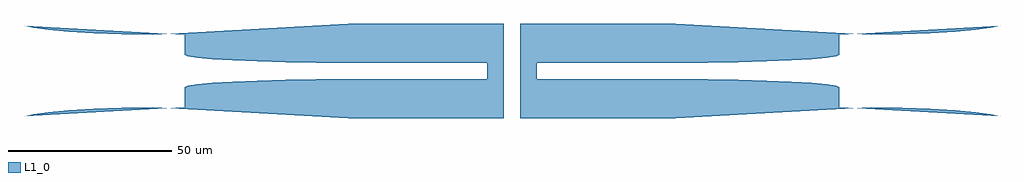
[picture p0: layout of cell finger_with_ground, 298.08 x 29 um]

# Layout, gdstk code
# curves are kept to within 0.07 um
import gdstk
lib = gdstk.Library(unit=1e-6, precision=1e-09)
def P(c, l, *ps):  # polygons
    for p in ps: c.add(gdstk.Polygon(p, *l))
L1_0 = (1, 0)

finger_with_ground = lib.new_cell('finger_with_ground')
P(finger_with_ground, L1_0, [(50,2.5),(30.866,2.69),(22.221,2.921),(14.645,3.232),(8.427,3.611),(3.806,4.043),(0.961,4.512),(0,5),(0,11),(-49.039,13.817),(-46.194,13.161),(-41.573,12.556),(-35.355,12.025),(-27.779,11.59),(-19.134,11.266),(-9.755,11.067),(50,14.5)],
  [(50,-14.5),(-9.755,-11.067),(-19.134,-11.266),(-27.779,-11.59),(-35.355,-12.025),(-41.573,-12.556),(-46.194,-13.161),(-49.039,-13.817),(0,-11),(0,-5),(0.961,-4.512),(3.806,-4.043),(8.427,-3.611),(14.645,-3.232),(22.221,-2.921),(30.866,-2.69),(50,-2.5)],
  [(150,2.5),(150,14.5),(209.755,11.067),(219.134,11.266),(227.779,11.59),(235.355,12.025),(241.573,12.556),(246.194,13.161),(249.039,13.817),(200,11),(200,5),(199.039,4.512),(196.194,4.043),(191.573,3.611),(185.355,3.232),(177.779,2.921),(169.134,2.69)],
  [(150,-14.5),(150,-2.5),(169.134,-2.69),(177.779,-2.921),(185.355,-3.232),(191.573,-3.611),(196.194,-4.043),(199.039,-4.512),(200,-5),(200,-11),(249.039,-13.817),(246.194,-13.161),(241.573,-12.556),(235.355,-12.025),(227.779,-11.59),(219.134,-11.266),(209.755,-11.067)],
  [(50,-14.5),(50,-2.5),(92.5,-2.5),(92.5,2.5),(50,2.5),(50,14.5),(97.5,14.5),(97.5,-14.5)],
  [(102.5,-14.5),(102.5,14.5),(150,14.5),(150,2.5),(107.5,2.5),(107.5,-2.5),(150,-2.5),(150,-14.5)])

lib.write_gds('finger_with_ground.gds')
